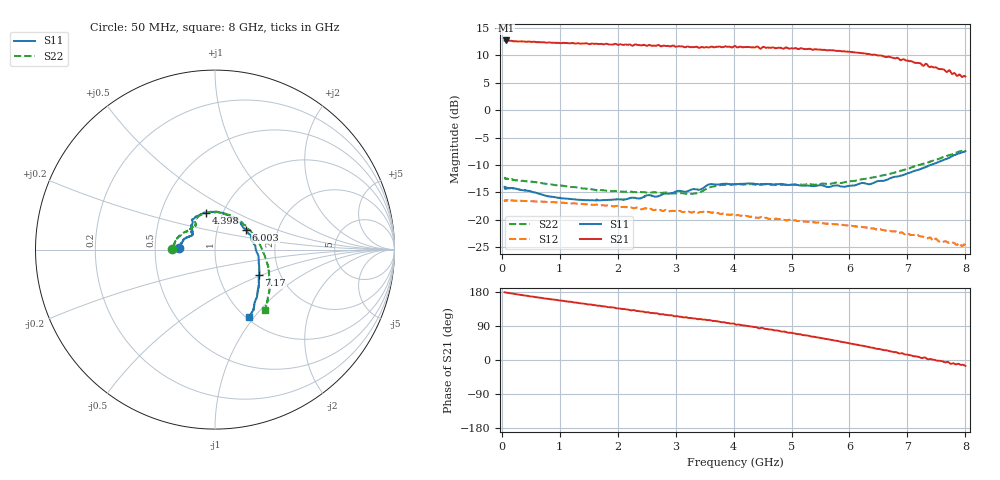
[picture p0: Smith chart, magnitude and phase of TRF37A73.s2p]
! Network Analyzer HP8720D.06.14 Serial No. US36140363
! Hewlett-Packard
! 27 May 2014  20:34:46
! Frequency  S11  S21  S12  S22
# HZ  S  DB R 50
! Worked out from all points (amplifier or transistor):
!   1601 points, 50 MHz to 8 GHz, reference 50 ohm
!   highest |S21| = 12.7 dB at 69.88 MHz (marker M1)
!   |S21| within 3 dB of that: start of sweep to 6.62 GHz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
!   unconditionally stable (mu >= 1): start of sweep to end of sweep
!   at 1.372 GHz: K = 1.14, MAG = 12.3 dB, |S12| = -17.1 dB
!   at 4.025 GHz: K = 1.33, MAG = 12.0 dB, |S12| = -19.3 dB
!   at 8 GHz: K = 2.85, MAG = 8.0 dB, |S12| = -24.7 dB
!   S11 on the Smith chart (normalised r, x): 50 MHz: 0.67, +0.01; 4.398 GHz: 0.84, +0.36; 6.003 GHz: 1.37, +0.31; 7.17 GHz: 1.56, -0.48; 8 GHz: 1.03, -0.95
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5e7  -14.01 178.0  12.68 178.8  -16.38 0.1  -12.48 179.1
6.9875e7  -14.29 176.2  12.73 177.9  -16.42 -0.6  -12.56 177.3
5.86625e8  -15.06 158.5  12.47 165.8  -16.68 -4.3  -13.15 163.0
1.376656e9  -16.40 148.4  12.16 149.5  -17.11 -8.3  -14.27 150.0
1.977875e9  -16.32 146.1  12.06 136.3  -17.47 -11.0  -14.80 142.6
2.703312e9  -15.70 140.2  11.88 121.9  -18.26 -12.4  -15.05 134.5
3.130625e9  -14.86 136.3  11.60 112.5  -18.59 -12.8  -15.20 128.6
3.597688e9  -13.51 127.8  11.54 105.1  -18.64 -14.3  -14.07 123.2
4.025e9  -13.51 113.9  11.72 94.4  -19.26 -15.1  -13.54 106.5
4.397656e9  -13.51 103.2  11.59 86.2  -19.62 -15.5  -13.64 92.3
4.46225e9  -13.50 100.6  11.23 84.3  -19.55 -14.8  -13.63 90.1
4.536781e9  -13.47 97.9  11.48 82.3  -19.70 -15.1  -13.53 86.9
4.904469e9  -13.58 85.4  11.47 74.0  -20.10 -15.4  -13.65 72.2
5.351656e9  -13.87 65.9  11.07 61.7  -20.50 -15.6  -13.56 53.4
5.6945e9  -13.89 48.8  10.92 52.7  -20.79 -15.8  -13.41 39.7
6.002562e9  -13.81 32.6  10.66 43.9  -21.09 -16.1  -12.97 27.3
6.439812e9  -13.18 7.9  10.13 30.8  -21.68 -16.8  -12.21 10.6
6.678312e9  -12.56 -4.7  9.75 23.9  -21.99 -16.8  -11.68 1.0
6.951594e9  -11.74 -18.7  9.22 14.9  -22.65 -16.8  -10.88 -9.9
7.170219e9  -10.95 -30.2  8.63 9.0  -22.77 -17.2  -10.10 -18.7
7.751562e9  -8.49 -54.4  6.90 -10.0  -24.14 -13.3  -8.12 -40.8
8e9  -7.48 -63.2  6.14 -15.6  -24.69 -13.6  -7.21 -50.2
